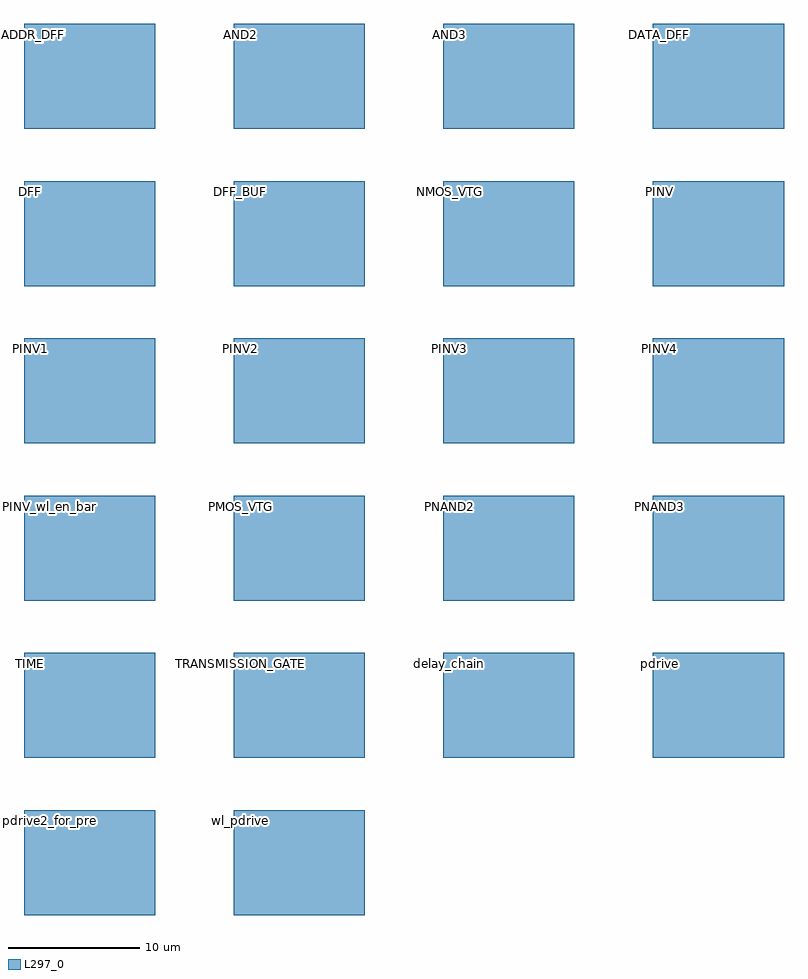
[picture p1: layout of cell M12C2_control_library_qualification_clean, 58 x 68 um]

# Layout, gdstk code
import gdstk
lib = gdstk.Library(unit=1e-6, precision=1e-09)
def R(c, l, rs):  # rectangles x0, y0, x1, y1
    for r in rs: c.add(gdstk.rectangle(r[:2], r[2:], *l))
def A(c, l, x, y, w, h, nx, ny, dx, dy):  # array of equal rectangles
    R(c, l, [(x+i*dx, y+j*dy, x+i*dx+w, y+j*dy+h) for i in range(nx) for j in range(ny)])
L297_0 = (297, 0)

m12c2_control_library_qu = lib.new_cell('M12C2_control_library_qualification_clean')
A(m12c2_control_library_qu, L297_0, 0, -48, 10, 8, 4, 5, 16, 12)
R(m12c2_control_library_qu, L297_0, [(0,-60,10,-52), (16,-60,26,-52)])
m12c2_control_library_qu.add(gdstk.Label('ADDR_DFF', (0.5,7.2), layer=298, texttype=0))
m12c2_control_library_qu.add(gdstk.Label('AND2', (16.5,7.2), layer=298, texttype=0))
m12c2_control_library_qu.add(gdstk.Label('AND3', (32.5,7.2), layer=298, texttype=0))
m12c2_control_library_qu.add(gdstk.Label('DATA_DFF', (48.5,7.2), layer=298, texttype=0))
m12c2_control_library_qu.add(gdstk.Label('DFF', (0.5,-4.8), layer=298, texttype=0))
m12c2_control_library_qu.add(gdstk.Label('DFF_BUF', (16.5,-4.8), layer=298, texttype=0))
m12c2_control_library_qu.add(gdstk.Label('NMOS_VTG', (32.5,-4.8), layer=298, texttype=0))
m12c2_control_library_qu.add(gdstk.Label('PINV', (48.5,-4.8), layer=298, texttype=0))
m12c2_control_library_qu.add(gdstk.Label('PINV1', (0.5,-16.8), layer=298, texttype=0))
m12c2_control_library_qu.add(gdstk.Label('PINV2', (16.5,-16.8), layer=298, texttype=0))
m12c2_control_library_qu.add(gdstk.Label('PINV3', (32.5,-16.8), layer=298, texttype=0))
m12c2_control_library_qu.add(gdstk.Label('PINV4', (48.5,-16.8), layer=298, texttype=0))
m12c2_control_library_qu.add(gdstk.Label('PINV_wl_en_bar', (0.5,-28.8), layer=298, texttype=0))
m12c2_control_library_qu.add(gdstk.Label('PMOS_VTG', (16.5,-28.8), layer=298, texttype=0))
m12c2_control_library_qu.add(gdstk.Label('PNAND2', (32.5,-28.8), layer=298, texttype=0))
m12c2_control_library_qu.add(gdstk.Label('PNAND3', (48.5,-28.8), layer=298, texttype=0))
m12c2_control_library_qu.add(gdstk.Label('TIME', (0.5,-40.8), layer=298, texttype=0))
m12c2_control_library_qu.add(gdstk.Label('TRANSMISSION_GATE', (16.5,-40.8), layer=298, texttype=0))
m12c2_control_library_qu.add(gdstk.Label('delay_chain', (32.5,-40.8), layer=298, texttype=0))
m12c2_control_library_qu.add(gdstk.Label('pdrive', (48.5,-40.8), layer=298, texttype=0))
m12c2_control_library_qu.add(gdstk.Label('pdrive2_for_pre', (0.5,-52.8), layer=298, texttype=0))
m12c2_control_library_qu.add(gdstk.Label('wl_pdrive', (16.5,-52.8), layer=298, texttype=0))

lib.write_gds('M12C2_control_library_qualification_clean.gds')
